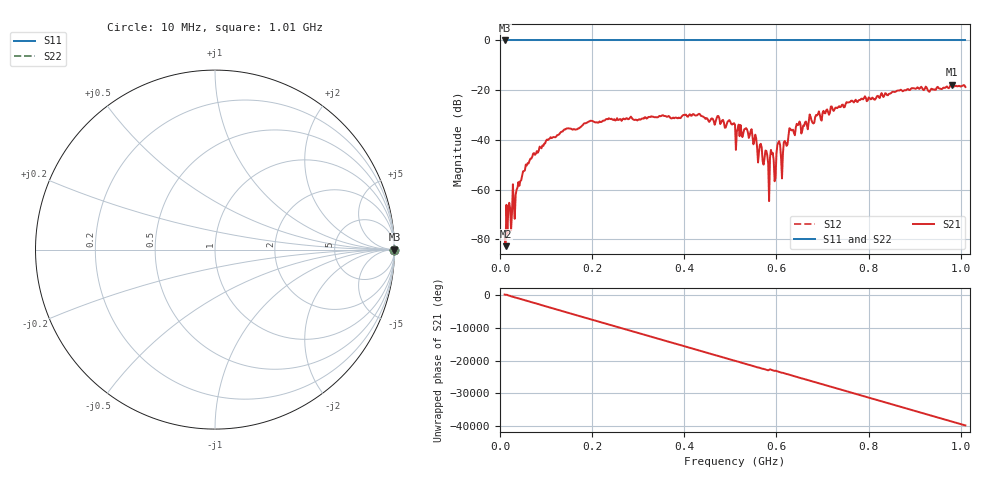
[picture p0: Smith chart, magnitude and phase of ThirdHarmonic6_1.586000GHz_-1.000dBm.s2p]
! 8/16/2025 6:53:18 PM
! C:\ANRITSUVNA\TEMP\TEMP.S2P
! CHANNEL.1
! TR.MEASUREMENT
! RAW.DATA
! RF.CORRECTION.OFF
! AVERAGING.OFF
! IF.BANDWIDTH: 5KHZ
! SWEEPTYPE:  FREQ.SWEEP(Linear)
! Reference Plane Port Info
! PORT:  PORT1  PORT2
! DISTANCE:  0  m  0  m
! TIME:  0  s  0  s
! PHASE.OFFSET:  0  deg.  0  deg.
! LOSS:  0  dB  0  dB
! REF.LOSS:  0  dB  0  dB
! REF.FREQ:  0  Hz  0  Hz
! Power Info
! POWER:  -20  dBm  -20  dBm
! EFF.POWER:  -20  dBm  -20  dBm
! SOURCE.ATTEN:  0  dB  0  dB
! TEST.ATTEN:  0  dB  0  dB
# GHZ S RI R 50.0
! FREQ.GHZ  S11RE  S11IM  S21RE  S21IM  S12RE  S12IM  S22RE  S22IM
!; PortSelection: Port_12
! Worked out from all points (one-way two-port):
!   501 points, 10 MHz to 1.01 GHz, reference 50 ohm
!   highest |S21| = -17.78 dB at 980 MHz (marker M1); lowest = -82.8 dB at 12 MHz (marker M2)
!   lowest |S11| = 0.0 dB at 10 MHz (marker M3)
!   |S11| at or under -10 dB: nowhere
!   |S22| runs from 0.0 to 0.0 dB; largest |S21 - S12| = 1.1
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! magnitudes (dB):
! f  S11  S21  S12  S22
! 10 MHz  0.0  -78.2  0.0  0.0
! 12 MHz  0.0  -82.8  0.0  0.0
! 18 MHz  0.0  -67.9  0.0  0.0
! 28 MHz  0.0  -57.9  0.0  0.0
! 40 MHz  0.0  -57.0  0.0  0.0
! 70 MHz  0.0  -46.8  0.0  0.0
! 106 MHz  0.0  -39.7  0.0  0.0
! 178 MHz  0.0  -34.3  0.0  0.0
! 344 MHz  0.0  -30.7  0.0  0.0
! 472 MHz  0.0  -30.4  0.0  0.0
! 510 MHz  0.0  -33.9  0.0  0.0
! 534 MHz  0.0  -35.3  0.0  0.0
! 582 MHz  0.0  -49.5  0.0  0.0
! 590 MHz  0.0  -45.6  0.0  0.0
! 594 MHz  0.0  -48.2  0.0  0.0
! 604 MHz  0.0  -41.1  0.0  0.0
! 614 MHz  0.0  -45.5  0.0  0.0
! 632 MHz  0.0  -36.2  0.0  0.0
! 678 MHz  0.0  -33.0  0.0  0.0
! 844 MHz  0.0  -21.5  0.0  0.0
! 980 MHz  0.0  -17.8  0.0  0.0
! 1.01 GHz  0.0  -18.7  0.0  0.0
